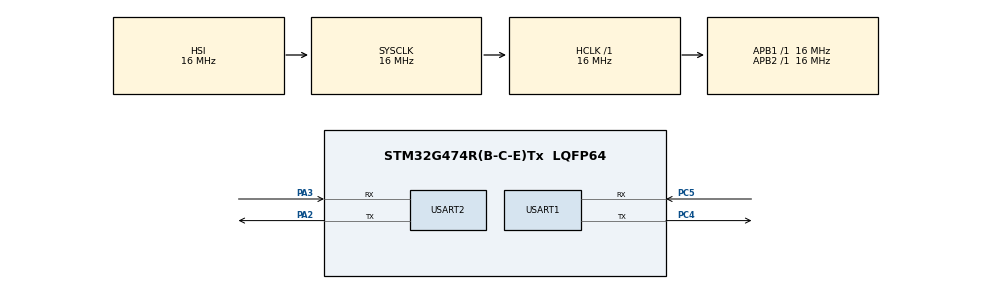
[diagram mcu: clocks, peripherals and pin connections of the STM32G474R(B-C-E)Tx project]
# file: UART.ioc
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Mcu.Family=STM32G4
Mcu.Name=STM32G474R(B-C-E)Tx
Mcu.Package=LQFP64
NVIC.PriorityGroup=NVIC_PRIORITYGROUP_4
NVIC.USART1_IRQn=true\:0\:0\:false\:false\:true\:true\:true\:true
PA13.Mode=Serial_Wire
PA13.Signal=SYS_JTMS-SWDIO
PA14.Mode=Serial_Wire
PA14.Signal=SYS_JTCK-SWCLK
PA2.Mode=Asynchronous
PA2.Signal=USART2_TX
PA3.Mode=Asynchronous
PA3.Signal=USART2_RX
PC4.Mode=Asynchronous
PC4.Signal=USART1_TX
PC5.Mode=Asynchronous
PC5.Signal=USART1_RX
ProjectManager.HeapSize=0x200
ProjectManager.StackSize=0x400
ProjectManager.TargetToolchain=STM32CubeIDE
RCC.AHBFreq_Value=16000000
RCC.APB1Freq_Value=16000000
RCC.APB1TimFreq_Value=16000000
RCC.APB2Freq_Value=16000000
RCC.APB2TimFreq_Value=16000000
RCC.CortexFreq_Value=16000000
RCC.EXTERNAL_CLOCK_VALUE=12288000
RCC.HCLKFreq_Value=16000000
RCC.HSE_VALUE=8000000
RCC.HSI48_VALUE=48000000
RCC.HSI_VALUE=16000000
RCC.LSE_VALUE=32768
RCC.SYSCLKFreq_VALUE=16000000
RCC.USBFreq_Value=64000000
RCC.VCOOutputFreq_Value=128000000
USART1.VirtualMode-Asynchronous=VM_ASYNC
USART2.VirtualMode-Asynchronous=VM_ASYNC
VP_SYS_VS_DBSignals.Mode=DisableDeadBatterySignals
board=custom

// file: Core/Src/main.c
/* USER CODE BEGIN Header */
/**
  ******************************************************************************
  * @file           : main.c
  * @brief          : Main program body
  ******************************************************************************
  * @attention
  *
  * Copyright (c) 2023 STMicroelectronics.
  * All rights reserved.
  *
  * This software is licensed under terms that can be found in the LICENSE file
  * in the root directory of this software component.
  * If no LICENSE file comes with this software, it is provided AS-IS.
  *
  ******************************************************************************
  */
/* USER CODE END Header */
#include "main.h"

/* USER CODE BEGIN Includes */
#include <stdlib.h>
#include <string.h>
#include <stdio.h>
#include <time.h>
/* USER CODE END Includes */

 UART_HandleTypeDef huart1;
UART_HandleTypeDef huart2;

/* USER CODE BEGIN PV */
 char Tx_Buffer[150] = {0};
 char Rx_data[2] ={0};
 uint8_t count = 0;
 char Rx_Buffer[50] = {0};
 uint8_t CheckFlagUSART = 0;
/* USER CODE END PV */

void SystemClock_Config(void);
static void MX_GPIO_Init(void);
static void MX_USART2_UART_Init(void);
static void MX_USART1_UART_Init(void);

/* USER CODE BEGIN 0 */
void HAL_UART_RxCpltCallback(UART_HandleTypeDef *huart)
{
	if(huart->Instance == USART1)
	{
		Rx_Buffer[count++] = Rx_data[0];
		if((Rx_data[0]) == '\r')
		{
			count = 0;
			CheckFlagUSART = 1;
		}
		HAL_UART_Receive_IT(&huart1, (uint8_t*)Rx_data,1);
	}
}
/* USER CODE END 0 */

int main(void)
{

  /* MCU Configuration--------------------------------------------------------*/

  /* Reset of all peripherals, Initializes the Flash interface and the Systick. */
  HAL_Init();

  /* Configure the system clock */
  SystemClock_Config();

  /* Initialize all configured peripherals */
  MX_GPIO_Init();
  MX_USART2_UART_Init();
  MX_USART1_UART_Init();
  /* USER CODE BEGIN 2 */
  HAL_UART_Init(&huart2);
 // HAL_UART_Init(&huart1);
  HAL_UART_Receive_IT(&huart1,(uint8_t*)Rx_data, 1);
  int lastTime = HAL_GetTick();
  /* USER CODE END 2 */

  /* Infinite loop */
  /* USER CODE BEGIN WHILE */
  while (1)
  {
	  int currentTime = HAL_GetTick();
	  if(currentTime - lastTime >= 2000)
	  {
		  int data = (rand()%100 + 1);
		  snprintf(Tx_Buffer,sizeof(Tx_Buffer),"%d\n",data);
		  HAL_UART_Transmit(&huart2, (uint8_t*)Tx_Buffer,strlen(Tx_Buffer),1000);
		  lastTime = currentTime;
	  }
	  if(CheckFlagUSART)
	  {
		  CheckFlagUSART = 0;
		  HAL_UART_Transmit(&huart1, (uint8_t*)Rx_Buffer,strlen(Rx_Buffer),1000);
	  }

    /* USER CODE END WHILE */

  }
}

void SystemClock_Config(void)
{
  RCC_OscInitTypeDef RCC_OscInitStruct = {0};
  RCC_ClkInitTypeDef RCC_ClkInitStruct = {0};

  /** Configure the main internal regulator output voltage
  */
  HAL_PWREx_ControlVoltageScaling(PWR_REGULATOR_VOLTAGE_SCALE1);

  /** Initializes the RCC Oscillators according to the specified parameters
  * in the RCC_OscInitTypeDef structure.
  */
  RCC_OscInitStruct.OscillatorType = RCC_OSCILLATORTYPE_HSI;
  RCC_OscInitStruct.HSIState = RCC_HSI_ON;
  RCC_OscInitStruct.HSICalibrationValue = RCC_HSICALIBRATION_DEFAULT;
  RCC_OscInitStruct.PLL.PLLState = RCC_PLL_NONE;
  if (HAL_RCC_OscConfig(&RCC_OscInitStruct) != HAL_OK)
  {
    Error_Handler();
  }

  /** Initializes the CPU, AHB and APB buses clocks
  */
  RCC_ClkInitStruct.ClockType = RCC_CLOCKTYPE_HCLK|RCC_CLOCKTYPE_SYSCLK
                              |RCC_CLOCKTYPE_PCLK1|RCC_CLOCKTYPE_PCLK2;
  RCC_ClkInitStruct.SYSCLKSource = RCC_SYSCLKSOURCE_HSI;
  RCC_ClkInitStruct.AHBCLKDivider = RCC_SYSCLK_DIV1;
  RCC_ClkInitStruct.APB1CLKDivider = RCC_HCLK_DIV1;
  RCC_ClkInitStruct.APB2CLKDivider = RCC_HCLK_DIV1;

  if (HAL_RCC_ClockConfig(&RCC_ClkInitStruct, FLASH_LATENCY_0) != HAL_OK)
  {
    Error_Handler();
  }
}

static void MX_USART1_UART_Init(void)
{

  huart1.Instance = USART1;
  huart1.Init.BaudRate = 115200;
  huart1.Init.WordLength = UART_WORDLENGTH_8B;
  huart1.Init.StopBits = UART_STOPBITS_1;
  huart1.Init.Parity = UART_PARITY_NONE;
  huart1.Init.Mode = UART_MODE_TX_RX;
  huart1.Init.HwFlowCtl = UART_HWCONTROL_NONE;
  huart1.Init.OverSampling = UART_OVERSAMPLING_16;
  huart1.Init.OneBitSampling = UART_ONE_BIT_SAMPLE_DISABLE;
  huart1.Init.ClockPrescaler = UART_PRESCALER_DIV1;
  huart1.AdvancedInit.AdvFeatureInit = UART_ADVFEATURE_NO_INIT;
  if (HAL_UART_Init(&huart1) != HAL_OK)
  {
    Error_Handler();
  }
  if (HAL_UARTEx_SetTxFifoThreshold(&huart1, UART_TXFIFO_THRESHOLD_1_8) != HAL_OK)
  {
    Error_Handler();
  }
  if (HAL_UARTEx_SetRxFifoThreshold(&huart1, UART_RXFIFO_THRESHOLD_1_8) != HAL_OK)
  {
    Error_Handler();
  }
  if (HAL_UARTEx_DisableFifoMode(&huart1) != HAL_OK)
  {
    Error_Handler();
  }

}

static void MX_USART2_UART_Init(void)
{

  huart2.Instance = USART2;
  huart2.Init.BaudRate = 115200;
  huart2.Init.WordLength = UART_WORDLENGTH_8B;
  huart2.Init.StopBits = UART_STOPBITS_1;
  huart2.Init.Parity = UART_PARITY_NONE;
  huart2.Init.Mode = UART_MODE_TX_RX;
  huart2.Init.HwFlowCtl = UART_HWCONTROL_NONE;
  huart2.Init.OverSampling = UART_OVERSAMPLING_16;
  huart2.Init.OneBitSampling = UART_ONE_BIT_SAMPLE_DISABLE;
  huart2.Init.ClockPrescaler = UART_PRESCALER_DIV1;
  huart2.AdvancedInit.AdvFeatureInit = UART_ADVFEATURE_NO_INIT;
  if (HAL_UART_Init(&huart2) != HAL_OK)
  {
    Error_Handler();
  }
  if (HAL_UARTEx_SetTxFifoThreshold(&huart2, UART_TXFIFO_THRESHOLD_1_8) != HAL_OK)
  {
    Error_Handler();
  }
  if (HAL_UARTEx_SetRxFifoThreshold(&huart2, UART_RXFIFO_THRESHOLD_1_8) != HAL_OK)
  {
    Error_Handler();
  }
  if (HAL_UARTEx_DisableFifoMode(&huart2) != HAL_OK)
  {
    Error_Handler();
  }

}

static void MX_GPIO_Init(void)
{

  /* GPIO Ports Clock Enable */
  __HAL_RCC_GPIOA_CLK_ENABLE();
  __HAL_RCC_GPIOC_CLK_ENABLE();

}

void Error_Handler(void)
{
  __disable_irq();
  while (1)
  {
  }
}
